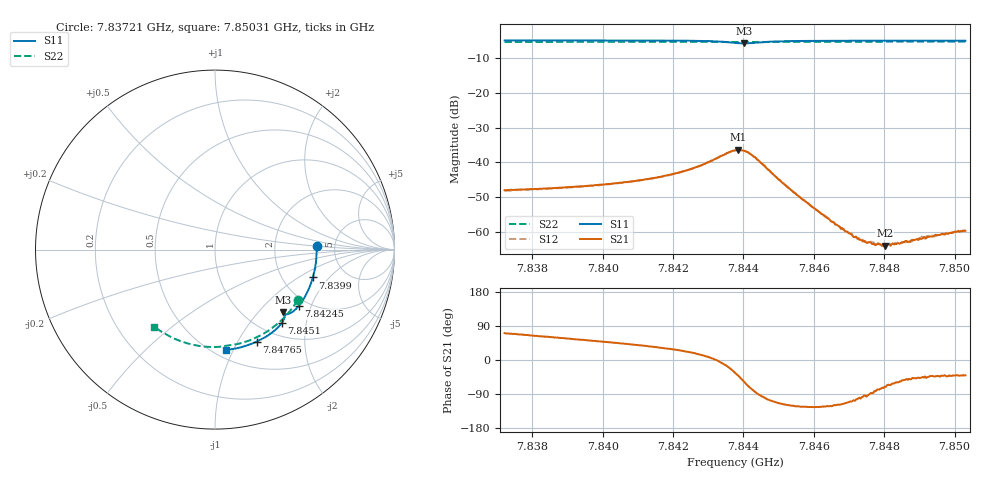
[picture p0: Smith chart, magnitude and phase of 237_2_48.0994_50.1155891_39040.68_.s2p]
#  HZ  S  RI  R  50.00
! Rohde & Schwarz Vector Network Analyzer
! Rohde-Schwarz,ZNB20-2Port,1311601062101988,3.16
! Created: UTC 12/23/2023, 3:58:22 AM
! freq[Hz]  re:S11  im:S11  re:S21  im:S21  re:S12  im:S12  re:S22  im:S22
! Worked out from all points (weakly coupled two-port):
!   401 points, 7.83721 GHz to 7.85031 GHz, reference 50 ohm
!   highest |S21| = -36.39 dB at 7.84386 GHz (marker M1); lowest = -64.0 dB at 7.84801 GHz (marker M2)
!   lowest |S11| = -5.8 dB at 7.84402 GHz (marker M3), VSWR 3.12, Z = 72.3 - j68.7 ohm
!   |S11| at or under -10 dB: nowhere
!   |S22| runs from -5.4 to -5.3 dB; largest |S21 - S12| = 0.00033
!   S11 on the Smith chart (normalised r, x): 7.83721 GHz: 3.59, +0.23; 7.8399 GHz: 2.94, -1.34; 7.84245 GHz: 1.79, -1.64; 7.8451 GHz: 1.25, -1.46; 7.84765 GHz: 0.80, -1.20; 7.85031 GHz: 0.57, -0.94
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7.837212e9  0.5658 0.0219  0.0013 0.00375  0.00132 0.00368  0.4597 -0.2826
7.839406e9  0.5533 -0.1234  0.00268 0.00364  0.00267 0.00358  0.3623 -0.401
7.839897e9  0.5452 -0.1553  0.00309 0.00359  0.003 0.00353  0.3363 -0.4234
7.841599e9  0.5009 -0.2628  0.00514 0.00332  0.0051 0.00334  0.2355 -0.4872
7.84245e9  0.4665 -0.3138  0.00729 0.00282  0.00728 0.00285  0.1802 -0.5103
7.843268e9  0.4177 -0.3554  0.0117 -0.000404  0.0116 -0.000369  0.1249 -0.5258
7.843759e9  0.3823 -0.3571  0.0124 -0.00825  0.0125 -0.008  0.0919 -0.5312
7.843857e9  0.3787 -0.3538  0.0112 -0.0102  0.0112 -0.0101  0.0855 -0.5322
7.844021e9  0.3784 -0.3491  0.00773 -0.0125  0.00795 -0.0123  0.0756 -0.5338
7.844348e9  0.3875 -0.3562  0.000877 -0.0116  0.00101 -0.0115  0.0544 -0.5374
7.845101e9  0.3734 -0.4068  -0.00225 -0.00459  -0.00222 -0.00463  0.00154 -0.5426
7.845952e9  0.3308 -0.4516  -0.00128 -0.00189  -0.00131 -0.00191  -0.0585 -0.5405
7.846836e9  0.2809 -0.4869  -0.000467 -0.00097  -0.000463 -0.000982  -0.1199 -0.5309
7.847196e9  0.2594 -0.4991  -0.000213 -0.000828  -0.000222 -0.000804  -0.1445 -0.5249
7.847491e9  0.2418 -0.5082  -8e-05 -0.000696  -2.27e-05 -0.000714  -0.1643 -0.5193
7.847655e9  0.2318 -0.513  3.11e-05 -0.000667  5.54e-05 -0.000703  -0.1754 -0.5157
7.847753e9  0.2258 -0.5157  8.37e-05 -0.000635  8.14e-05 -0.000637  -0.1818 -0.5134
7.848015e9  0.2095 -0.5224  0.000209 -0.000592  0.000217 -0.000596  -0.199 -0.5072
7.848146e9  0.2012 -0.5256  0.000271 -0.000615  0.000276 -0.000619  -0.2077 -0.5039
7.848768e9  0.162 -0.5391  0.000477 -0.000583  0.000454 -0.000564  -0.2474 -0.4859
7.849259e9  0.1303 -0.5476  0.000603 -0.000592  0.00064 -0.000592  -0.2778 -0.4697
7.850306e9  0.0615 -0.559  0.000787 -0.00067  0.000776 -0.000662  -0.3385 -0.4285
